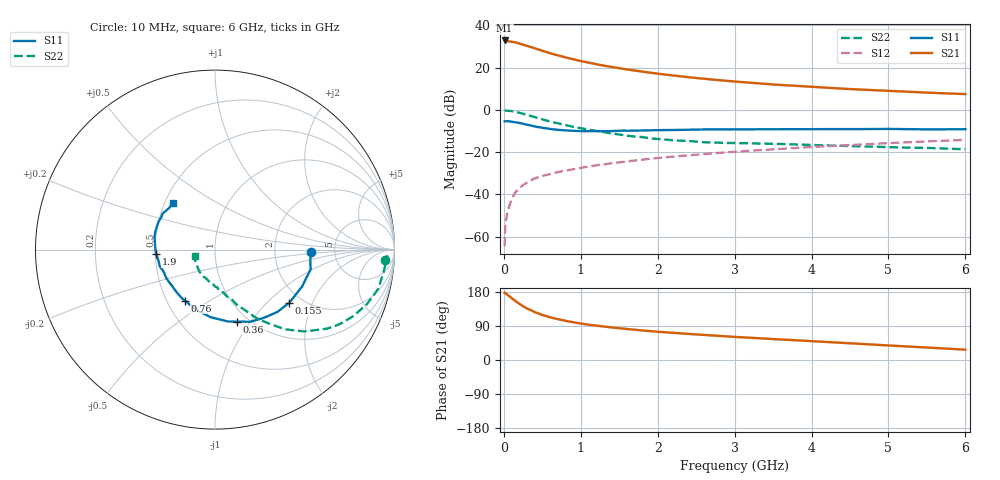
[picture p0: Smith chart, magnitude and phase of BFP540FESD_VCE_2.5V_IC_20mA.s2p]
! Infineon Technologies  Discrete & RF Semiconductors
! BFP540FESD
! VCE =  2.5 V,  IC =  20 mA
! Common Emitter S-Parameters:  Nov 2015
# GHz  S  MA  R  50
!  f  S11  S21  S12  S22
! GHz  MAG  ANG  MAG  ANG  MAG  ANG  MAG  ANG
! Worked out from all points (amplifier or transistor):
!   210 points, 10 MHz to 6 GHz, reference 50 ohm
!   highest |S21| = 32.8 dB at 10 MHz (marker M1)
!   |S21| within 3 dB of that: start of sweep to 341.9 MHz
!   unconditionally stable (mu >= 1): start of sweep to 11.23 MHz; 1.758 GHz to end of sweep
!   at 185 MHz: K = 0.28, MSG = 34.6 dB, |S12| = -37.7 dB
!   at 1.52 GHz: K = 0.96, MSG = 22.1 dB, |S12| = -24.7 dB
!   at 6 GHz: K = 1.17, MAG = 8.3 dB, |S12| = -14.2 dB
!   S11 on the Smith chart (normalised r, x): 10 MHz: 3.32, -0.12; 155 MHz: 1.70, -1.37; 360 MHz: 0.88, -0.86; 760 MHz: 0.62, -0.39; 1.9 GHz: 0.51, -0.03; 6 GHz: 0.55, +0.32
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0.01  0.5374 -1.4  43.59 177.4  0.0006 101.8  0.9506 -3.5
0.02  0.5337 -5.9  42.23 176.3  0.0019 74.1  0.9602 -2.2
0.065  0.5366 -14.9  41.65 169.1  0.005 86.0  0.9447 -8.6
0.1  0.5273 -22.8  40.9 163.2  0.0073 83.9  0.9356 -13.5
0.155  0.5071 -36.0  39.18 154.8  0.0116 76.1  0.8943 -20.4
0.2  0.4921 -44.7  37.18 148.2  0.0139 74.3  0.8544 -25.7
0.26  0.4628 -56.3  34.48 140.9  0.0172 71.1  0.8008 -31.7
0.3  0.447 -64.1  32.74 136.1  0.019 68.8  0.7628 -35.3
0.36  0.4192 -73.1  30.09 130.7  0.0219 67.0  0.708 -39.5
0.4  0.4071 -79.7  28.49 126.5  0.0239 66.1  0.6738 -42.6
0.5  0.3777 -93.7  24.9 118.8  0.0274 64.0  0.5942 -48.4
0.6  0.3538 -105.0  21.77 112.7  0.0302 62.2  0.5299 -52.6
0.76  0.3303 -120.5  18.14 105.1  0.0354 62.0  0.4523 -58.2
0.9  0.3196 -132.1  15.63 99.5  0.0396 61.8  0.3974 -62.0
1.02  0.3131 -139.8  13.97 95.6  0.0431 61.6  0.3615 -65.0
1.4  0.3147 -159.4  10.32 85.8  0.0546 60.7  0.2775 -74.6
1.9  0.3283 -175.6  7.55 76.3  0.07 59.6  0.2113 -86.4
2.02  0.332 -179.9  7.082 74.2  0.0731 58.9  0.2042 -90.3
3.1  0.3474 162.0  4.525 59.9  0.1049 54.0  0.1631 -113.6
4.1  0.3505 153.0  3.401 48.6  0.1355 48.6  0.146 -128.4
5.1  0.3518 143.8  2.751 37.3  0.1668 41.2  0.1291 -143.0
6  0.3482 132.2  2.353 27.3  0.1953 34.0  0.1172 -163.0
